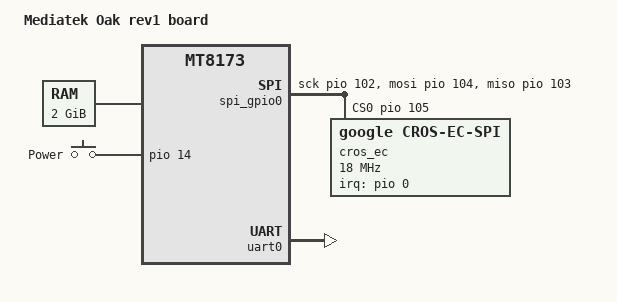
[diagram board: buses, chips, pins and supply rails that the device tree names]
/*
 * Copyright (c) 2014 MediaTek Inc.
 * Author: Eddie Huang <eddie.huang@mediatek.com>
 *
 * This program is free software; you can redistribute it and/or modify
 * it under the terms of the GNU General Public License version 2 as
 * published by the Free Software Foundation.
 *
 * This program is distributed in the hope that it will be useful,
 * but WITHOUT ANY WARRANTY; without even the implied warranty of
 * MERCHANTABILITY or FITNESS FOR A PARTICULAR PURPOSE.  See the
 * GNU General Public License for more details.
 */

/dts-v1/;
#include <dt-bindings/input/input.h>
#include <dt-bindings/gpio/gpio.h>
#include "mt8173.dtsi"

/ {
	model = "Mediatek Oak rev1 board";
	compatible = "google,oak-rev1", "google,oak", "mediatek,mt8173";

	aliases {
		serial0 = &uart0;
		serial1 = &uart1;
		serial2 = &uart2;
		serial3 = &uart3;
	};

	memory@40000000 {
		device_type = "memory";
		reg = <0 0x40000000 0 0x80000000>;
	};

	chosen {
		linux,stdout-path = &uart0;
	};

	gpio-keys {
		compatible = "gpio-keys";
		power {
			label = "Power";
			gpios = <&pio 14 GPIO_ACTIVE_HIGH>;
			linux,code = <KEY_POWER>;
			debounce-interval = <1>;
			gpio-key,wakeup;
		};
	};

	spi_gpio0: ec@0 {
		compatible = "spi-gpio";
		#address-cells = <0x1>;
		#size-cells = <0>;
		gpio-sck = <&pio 102 GPIO_ACTIVE_HIGH>;
		gpio-miso = <&pio 103 GPIO_ACTIVE_HIGH>;
		gpio-mosi = <&pio 104 GPIO_ACTIVE_HIGH>;
		cs-gpios = <&pio 105 GPIO_ACTIVE_HIGH>;
		num-chipselects = <1>;
		pinctrl-names = "default";
		pinctrl-0 = <&spi_gpio0_pins>;
		status = "okay";
		/* clients */
		cros_ec: ec@0 {
			compatible = "google,cros-ec-spi";
			reg = <0x0>;
			spi-max-frequency = <18000000>;
			interrupt-parent = <&pio>;
			interrupts = <0 IRQ_TYPE_LEVEL_LOW>;
			google,cros-ec-spi-msg-delay = <500>;
			google,cros-ec-spi-pre-delay = <500>;

			i2c_tunnel: i2c-tunnel {
				compatible = "google,cros-ec-i2c-tunnel";
				google,remote-bus = <0>;
				#address-cells = <1>;
				#size-cells = <0>;
			};
		};
	};
};

&uart0 {
	status = "okay";
};

&pio {
	spi_gpio0_pins: spi@ec0 {
		pins1 {
			pinmux = <MT8173_PIN_102_MSDC2_DAT2__FUNC_GPIO102>,
				 <MT8173_PIN_103_MSDC2_DAT3__FUNC_GPIO103>,
				 <MT8173_PIN_104_MSDC2_CLK__FUNC_GPIO104>,
				 <MT8173_PIN_105_MSDC2_CMD__FUNC_GPIO105>;
			bias-disable;
		};

		pins2 {
			pinmux = <MT8173_PIN_0_EINT0__FUNC_GPIO0>;
			bias-pull-up;
		};
	};
};
